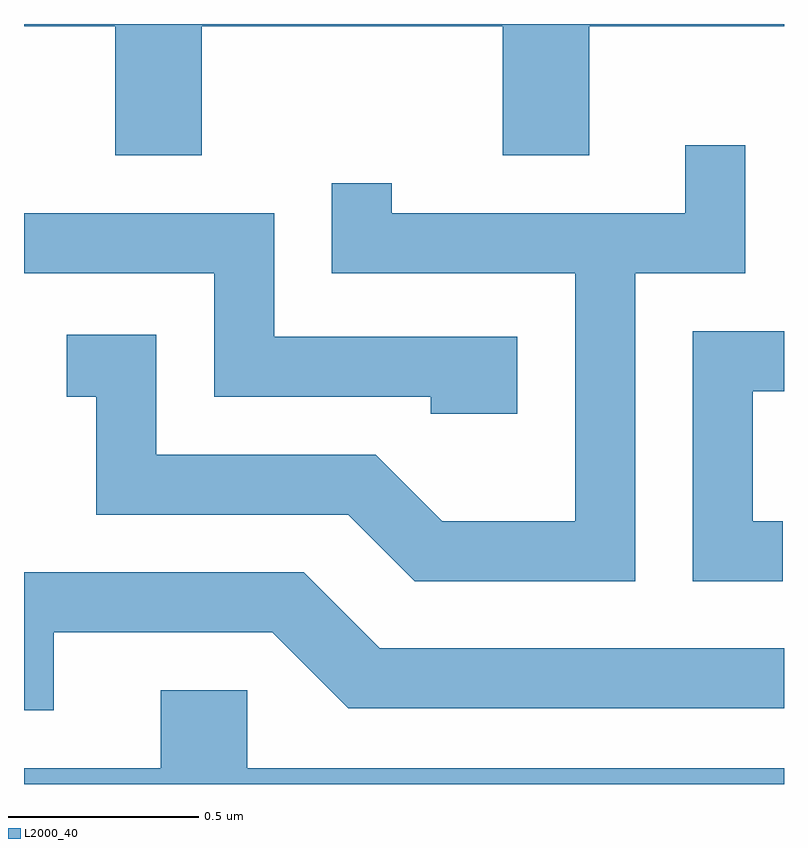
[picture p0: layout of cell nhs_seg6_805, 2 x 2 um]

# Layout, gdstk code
import gdstk
lib = gdstk.Library(unit=1e-6, precision=1e-09)
def P(c, l, *ps):  # polygons
    for p in ps: c.add(gdstk.Polygon(p, *l))
L2000_40 = (2000, 40)

nhs_seg6_805 = lib.new_cell('nhs_seg6_805')
P(nhs_seg6_805, L2000_40, [(191.079,1652.156),(191.871,1652.156),(191.871,1651.816),(192.099,1651.816),(192.099,1652.156),(192.611,1652.156),(192.611,1652.162),(190.611,1652.162),(190.611,1652.156),(190.851,1652.156),(190.851,1651.816),(191.079,1651.816)],
  [(192.219,1651.506),(192.509,1651.506),(192.509,1651.843),(192.351,1651.843),(192.351,1651.664),(191.579,1651.664),(191.579,1651.743),(191.421,1651.743),(191.421,1651.506),(192.061,1651.506),(192.061,1650.854),(191.712,1650.854),(191.537,1651.029),(190.959,1651.029),(190.959,1651.344),(190.723,1651.344),(190.723,1651.181),(190.801,1651.181),(190.801,1650.871),(191.464,1650.871),(191.639,1650.696),(192.219,1650.696)],
  [(191.909,1651.339),(191.269,1651.339),(191.269,1651.664),(190.611,1651.664),(190.611,1651.506),(191.111,1651.506),(191.111,1651.181),(191.681,1651.181),(191.681,1651.136),(191.909,1651.136)],
  [(192.608,1650.854),(192.529,1650.854),(192.529,1651.196),(192.611,1651.196),(192.611,1651.354),(192.371,1651.354),(192.371,1650.696),(192.608,1650.696)],
  [(190.689,1650.561),(191.264,1650.561),(191.464,1650.361),(192.611,1650.361),(192.611,1650.519),(191.547,1650.519),(191.347,1650.719),(190.611,1650.719),(190.611,1650.356),(190.689,1650.356)],
  [(192.611,1650.204),(191.199,1650.204),(191.199,1650.409),(190.971,1650.409),(190.971,1650.204),(190.611,1650.204),(190.611,1650.162),(192.611,1650.162)])

lib.write_gds('nhs_seg6_805.gds')
